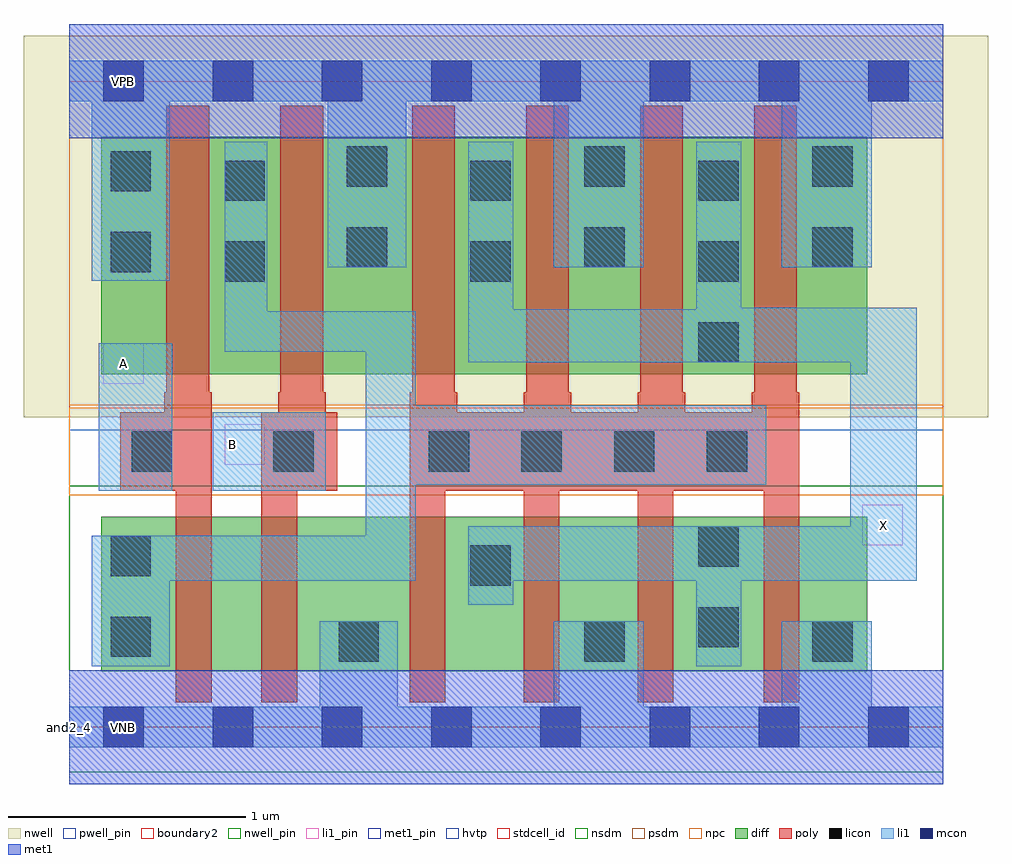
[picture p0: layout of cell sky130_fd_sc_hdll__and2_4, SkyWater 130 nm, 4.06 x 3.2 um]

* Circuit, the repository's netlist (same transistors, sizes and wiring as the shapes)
* Copyright 2020 The SkyWater PDK Authors
*
* Licensed under the Apache License, Version 2.0 (the "License");
* you may not use this file except in compliance with the License.
* You may obtain a copy of the License at
*
*     https://www.apache.org/licenses/LICENSE-2.0
*
* Unless required by applicable law or agreed to in writing, software
* distributed under the License is distributed on an "AS IS" BASIS,
* WITHOUT WARRANTIES OR CONDITIONS OF ANY KIND, either express or implied.
* See the License for the specific language governing permissions and
* limitations under the License.
*
* SPDX-License-Identifier: Apache-2.0

.SUBCKT sky130_fd_sc_hdll__and2_4 A B VGND VNB VPB VPWR X
*.PININFO A:I B:I VGND:I VNB:I VPB:I VPWR:I X:O
MMP0 y A VPWR VPB sky130_fd_pr__pfet_01v8_hvt m=1 w=1.0U l=0.18U mult=1 sa=0.265
+ sb=0.265 sd=0.28 area=0.063 perim=1.14
MMP1 y B VPWR VPB sky130_fd_pr__pfet_01v8_hvt m=1 w=1.0U l=0.18U mult=1 sa=0.265
+ sb=0.265 sd=0.28 area=0.063 perim=1.14
MMIP0 X y VPWR VPB sky130_fd_pr__pfet_01v8_hvt m=4 w=1.0U l=0.18U mult=1 sa=0.265
+ sb=0.265 sd=0.28 area=0.063 perim=1.14
MMN0 y A sndA VNB sky130_fd_pr__nfet_01v8 m=1 w=0.65U l=0.15U mult=1 sa=0.265 sb=0.265
+ sd=0.28 area=0.063 perim=1.14
MMN1 sndA B VGND VNB sky130_fd_pr__nfet_01v8 m=1 w=0.65U l=0.15U mult=1 sa=0.265
+ sb=0.265 sd=0.28 area=0.063 perim=1.14
MMIN0 X y VGND VNB sky130_fd_pr__nfet_01v8 m=4 w=0.65U l=0.15U mult=1 sa=0.265
+ sb=0.265 sd=0.28 area=0.063 perim=1.14
.ENDS sky130_fd_sc_hdll__and2_4

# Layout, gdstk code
import gdstk
lib = gdstk.Library(unit=1e-6, precision=1e-09)
def R(c, l, rs):  # rectangles x0, y0, x1, y1
    for r in rs: c.add(gdstk.rectangle(r[:2], r[2:], *l))
def A(c, l, x, y, w, h, nx, ny, dx, dy):  # array of equal rectangles
    R(c, l, [(x+i*dx, y+j*dy, x+i*dx+w, y+j*dy+h) for i in range(nx) for j in range(ny)])
def P(c, l, *ps):  # polygons
    for p in ps: c.add(gdstk.Polygon(p, *l))
nwell_pin = (64, 16)
nwell = (64, 20)
diff = (65, 20)
poly = (66, 20)
licon = (66, 44)
li1_pin = (67, 16)
li1 = (67, 20)
mcon = (67, 44)
met1_pin = (68, 16)
met1 = (68, 20)
hvtp = (78, 44)
stdcell_id = (81, 4)
nsdm = (93, 44)
psdm = (94, 20)
npc = (95, 20)
pwell_pin = (122, 16)
boundary2 = (236, 0)

sky130_fd_sc_hdll__and2_ = lib.new_cell('sky130_fd_sc_hdll__and2_4')
R(sky130_fd_sc_hdll__and2_, nwell_pin, [(0.145,2.635,0.315,2.805)])
R(sky130_fd_sc_hdll__and2_, nwell, [(-0.19,1.305,3.87,2.91)])
R(sky130_fd_sc_hdll__and2_, diff, [(0.135,0.235,3.36,0.885), (0.135,1.485,3.36,2.485)])
P(sky130_fd_sc_hdll__and2_, poly, [(0.6,1.41),(0.59,1.41),(0.59,2.615),(0.41,2.615),(0.41,1.41),(0.4,1.41),(0.4,1.325),(0.215,1.325),(0.215,0.995),(0.45,0.995),(0.45,0.105),(0.6,0.105)],
  [(1.13,1.325),(1.08,1.325),(1.08,1.41),(1.07,1.41),(1.07,2.615),(0.89,2.615),(0.89,1.41),(0.88,1.41),(0.88,1.325),(0.81,1.325),(0.81,0.105),(0.96,0.105),(0.96,0.995),(1.13,0.995)],
  [(3.075,1.41),(3.065,1.41),(3.065,2.615),(2.885,2.615),(2.885,1.41),(2.875,1.41),(2.875,1.325),(2.595,1.325),(2.595,1.41),(2.585,1.41),(2.585,2.615),(2.405,2.615),(2.405,1.41),(2.395,1.41),(2.395,1.325),(2.115,1.325),(2.115,1.41),(2.105,1.41),(2.105,2.615),(1.925,2.615),(1.925,1.41),(1.915,1.41),(1.915,1.325),(1.635,1.325),(1.635,1.41),(1.625,1.41),(1.625,2.615),(1.445,2.615),(1.445,1.41),(1.435,1.41),(1.435,0.105),(1.585,0.105),(1.585,0.995),(1.915,0.995),(1.915,0.105),(2.065,0.105),(2.065,0.995),(2.395,0.995),(2.395,0.105),(2.545,0.105),(2.545,0.995),(2.925,0.995),(2.925,0.105),(3.075,0.105)])
A(sky130_fd_sc_hdll__and2_, licon, 1.515, 1.075, 0.17, 0.17, 4, 1, 0.39, 0)
A(sky130_fd_sc_hdll__and2_, licon, 2.65, 1.535, 0.17, 0.17, 1, 3, 0, 0.34)
R(sky130_fd_sc_hdll__and2_, licon, [(1.135,0.275,1.305,0.445), (2.17,0.275,2.34,0.445), (3.13,0.275,3.3,0.445), (0.175,0.295,0.345,0.465), (2.65,0.335,2.82,0.505), (1.69,0.595,1.86,0.765), (0.175,0.635,0.345,0.805), (2.65,0.675,2.82,0.845), (0.265,1.075,0.435,1.245), (0.86,1.075,1.03,1.245), (0.655,1.875,0.825,2.045), (1.69,1.875,1.86,2.045), (0.175,1.915,0.345,2.085), (1.17,1.935,1.34,2.105), (2.17,1.935,2.34,2.105), (3.13,1.935,3.3,2.105), (0.655,2.215,0.825,2.385), (1.69,2.215,1.86,2.385), (0.175,2.255,0.345,2.425), (1.17,2.275,1.34,2.445), (2.17,2.275,2.34,2.445), (3.13,2.275,3.3,2.445)])
R(sky130_fd_sc_hdll__and2_, li1_pin, [(3.34,0.765,3.51,0.935), (0.655,1.105,0.825,1.275), (0.145,1.445,0.315,1.615)])
R(sky130_fd_sc_hdll__and2_, li1, [(0.125,0.995,0.435,1.615), (0.605,0.995,1.08,1.325)])
P(sky130_fd_sc_hdll__and2_, li1, [(3.68,0.085),(3.38,0.085),(3.38,0.445),(3,0.445),(3,0.085),(2.42,0.085),(2.42,0.445),(2.04,0.445),(2.04,0.085),(1.385,0.085),(1.385,0.445),(1.055,0.445),(1.055,0.085),(0,0.085),(0,-0.085),(3.68,-0.085)],
  [(3.68,2.805),(0,2.805),(0,2.635),(0.095,2.635),(0.095,1.88),(0.425,1.88),(0.425,2.635),(1.09,2.635),(1.09,1.935),(1.42,1.935),(1.42,2.635),(2.04,2.635),(2.04,1.935),(2.42,1.935),(2.42,2.635),(3,2.635),(3,1.935),(3.38,1.935),(3.38,2.635),(3.68,2.635)],
  [(2.935,1.355),(1.46,1.355),(1.46,1.75),(0.835,1.75),(0.835,2.465),(0.655,2.465),(0.655,1.58),(1.25,1.58),(1.25,0.805),(0.095,0.805),(0.095,0.255),(0.425,0.255),(0.425,0.615),(1.46,0.615),(1.46,1.02),(2.935,1.02)],
  [(3.57,1.765),(2.83,1.765),(2.83,2.465),(2.64,2.465),(2.64,1.76),(1.87,1.76),(1.87,2.465),(1.68,2.465),(1.68,1.535),(3.29,1.535),(3.29,0.845),(1.68,0.845),(1.68,0.515),(1.87,0.515),(1.87,0.615),(2.64,0.615),(2.64,0.255),(2.83,0.255),(2.83,0.615),(3.57,0.615)])
A(sky130_fd_sc_hdll__and2_, mcon, 0.145, -0.085, 0.17, 0.17, 8, 2, 0.46, 2.72)
R(sky130_fd_sc_hdll__and2_, met1_pin, [(0.145,-0.085,0.315,0.085), (0.145,2.635,0.315,2.805)])
R(sky130_fd_sc_hdll__and2_, met1, [(0,-0.24,3.68,0.24), (0,2.48,3.68,2.96)])
R(sky130_fd_sc_hdll__and2_, hvtp, [(0,1.25,3.68,2.72)])
R(sky130_fd_sc_hdll__and2_, stdcell_id, [(0,0,3.68,2.72)])
R(sky130_fd_sc_hdll__and2_, nsdm, [(0,-0.19,3.68,1.015)])
R(sky130_fd_sc_hdll__and2_, psdm, [(0,1.355,3.68,2.91)])
R(sky130_fd_sc_hdll__and2_, npc, [(0,0.975,3.68,1.345)])
R(sky130_fd_sc_hdll__and2_, pwell_pin, [(0.145,-0.085,0.315,0.085)])
R(sky130_fd_sc_hdll__and2_, boundary2, [(0,0,3.68,2.72)])
sky130_fd_sc_hdll__and2_.add(gdstk.Label('X', (3.43,0.85), layer=67, texttype=5))
sky130_fd_sc_hdll__and2_.add(gdstk.Label('B', (0.69,1.19), layer=67, texttype=5))
sky130_fd_sc_hdll__and2_.add(gdstk.Label('A', (0.23,1.53), layer=67, texttype=5))
sky130_fd_sc_hdll__and2_.add(gdstk.Label('VNB', (0.23,0), layer=64, texttype=59))
sky130_fd_sc_hdll__and2_.add(gdstk.Label('VPB', (0.23,2.72), layer=64, texttype=5))
sky130_fd_sc_hdll__and2_.add(gdstk.Label('VGND', (0.23,0), layer=68, texttype=5))
sky130_fd_sc_hdll__and2_.add(gdstk.Label('VPWR', (0.23,2.72), layer=68, texttype=5))
sky130_fd_sc_hdll__and2_.add(gdstk.Label('and2_4', (0,0), layer=83, texttype=44))

lib.write_gds('sky130_fd_sc_hdll__and2_4.gds')
